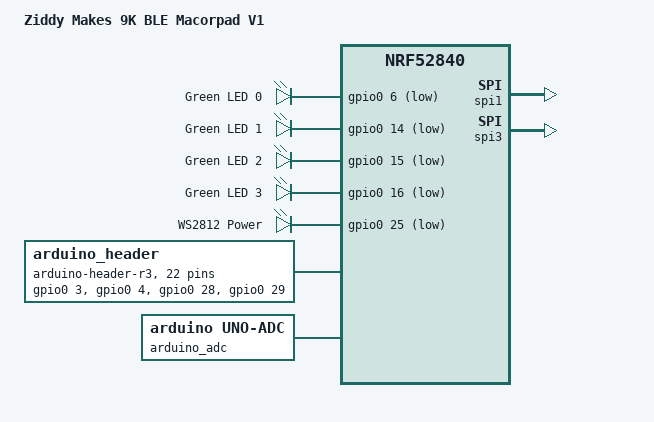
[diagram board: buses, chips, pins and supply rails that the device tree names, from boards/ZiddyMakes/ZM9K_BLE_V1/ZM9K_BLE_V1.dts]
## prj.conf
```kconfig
CONFIG_LOG=y
CONFIG_LED_STRIP=y
CONFIG_LED_STRIP_LOG_LEVEL_DBG=y
# CONFIG_BUILD_OUTPUT_UF2=y
```

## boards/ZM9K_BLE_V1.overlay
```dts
/*
 * Copyright (c) 2024, Ziddy Makes
 *
 * SPDX-License-Identifier: Apache-2.0
 */

#include <zephyr/dt-bindings/led/led.h>

#include "../nrf52-bindings.h"

&arduino_spi {
    compatible = "nordic,nrf-spim";
    led_strip: ws2812@0 {
        compatible = "worldsemi,ws2812-spi";

        /* SPI */
        reg = <0>; /* ignored, but necessary for SPI bindings */
        spi-max-frequency = <SPI_FREQ>;

        /* WS2812 */
        chain-length = <9>; /* arbitrary; change at will */
        color-mapping = <LED_COLOR_ID_GREEN
        LED_COLOR_ID_RED
        LED_COLOR_ID_BLUE>;
        spi-one-frame = <ONE_FRAME>;
        spi-zero-frame = <ZERO_FRAME>;
    };
};

/ {
    aliases {
        led-strip = &led_strip;
    };
}; 
```

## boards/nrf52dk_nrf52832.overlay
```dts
/*
 * Copyright (c) 2019, Nordic Semiconductor ASA
 *
 * SPDX-License-Identifier: Apache-2.0
 */

#include <zephyr/dt-bindings/led/led.h>

#include "../nrf52-bindings.h"

&arduino_spi {/* MOSI on D11 / P0.23 */
	compatible = "nordic,nrf-spim";
	led_strip: ws2812@0 {
		compatible = "worldsemi,ws2812-spi";

		/* SPI */
		reg = <0>; /* ignored, but necessary for SPI bindings */
		spi-max-frequency = <SPI_FREQ>;

		/* WS2812 */
		chain-length = <16>; /* arbitrary; change at will */
		color-mapping = <LED_COLOR_ID_GREEN
		LED_COLOR_ID_RED
		LED_COLOR_ID_BLUE>;
		spi-one-frame = <ONE_FRAME>;
		spi-zero-frame = <ZERO_FRAME>;
	};
};

/ {
	aliases {
		led-strip = &led_strip;
	};
};

&arduino_adc {
	io-channel-map = <0 &adc 1>, <1 &adc 2>, <2 &adc 4>, <3 &adc 5>, <4 &adc 6>, <5 &adc 7>;
};
```

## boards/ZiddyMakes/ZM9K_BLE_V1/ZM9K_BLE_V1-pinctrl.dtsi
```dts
/*
 * Copyright (c) 2022 Nordic Semiconductor
 * SPDX-License-Identifier: Apache-2.0
 */

&pinctrl {
    uart0_default: uart0_default {
        group1 {
            psels = <NRF_PSEL(UART_TX, 0, 6)>,
                    <NRF_PSEL(UART_RTS, 0, 5)>;
        };
        group2 {
            psels = <NRF_PSEL(UART_RX, 0, 8)>,
                    <NRF_PSEL(UART_CTS, 0, 7)>;
            bias-pull-up;
        };
    };

    uart0_sleep: uart0_sleep {
        group1 {
            psels = <NRF_PSEL(UART_TX, 0, 6)>,
                    <NRF_PSEL(UART_RX, 0, 8)>,
                    <NRF_PSEL(UART_RTS, 0, 5)>,
                    <NRF_PSEL(UART_CTS, 0, 7)>;
            low-power-enable;
        };
    };

    uart1_default: uart1_default {
        group1 {
            psels = <NRF_PSEL(UART_RX, 1, 1)>;
            bias-pull-up;
        };
        group2 {
            psels = <NRF_PSEL(UART_TX, 1, 2)>;
        };
    };

    uart1_sleep: uart1_sleep {
        group1 {
            psels = <NRF_PSEL(UART_RX, 1, 1)>,
                    <NRF_PSEL(UART_TX, 1, 2)>;
            low-power-enable;
        };
    };

    i2c0_default: i2c0_default {
        group1 {
            psels = <NRF_PSEL(TWIM_SDA, 0, 26)>,
                    <NRF_PSEL(TWIM_SCL, 0, 27)>;
        };
    };

    i2c0_sleep: i2c0_sleep {
        group1 {
            psels = <NRF_PSEL(TWIM_SDA, 0, 26)>,
                    <NRF_PSEL(TWIM_SCL, 0, 27)>;
            low-power-enable;
        };
    };

    i2c1_default: i2c1_default {
        group1 {
            psels = <NRF_PSEL(TWIM_SDA, 0, 30)>,
                    <NRF_PSEL(TWIM_SCL, 0, 31)>;
        };
    };

    i2c1_sleep: i2c1_sleep {
        group1 {
            psels = <NRF_PSEL(TWIM_SDA, 0, 30)>,
                    <NRF_PSEL(TWIM_SCL, 0, 31)>;
            low-power-enable;
        };
    };

    pwm0_default: pwm0_default {
        group1 {
            psels = <NRF_PSEL(PWM_OUT0, 0, 13)>;
            nordic,invert;
        };
    };

    pwm0_sleep: pwm0_sleep {
        group1 {
            psels = <NRF_PSEL(PWM_OUT0, 0, 13)>;
            low-power-enable;
        };
    };

    spi0_default: spi0_default {
        group1 {
            psels = <NRF_PSEL(SPIM_SCK, 0, 27)>,
                    <NRF_PSEL(SPIM_MOSI, 0, 26)>,
                    <NRF_PSEL(SPIM_MISO, 0, 29)>;
        };
    };

    spi0_sleep: spi0_sleep {
        group1 {
            psels = <NRF_PSEL(SPIM_SCK, 0, 27)>,
                    <NRF_PSEL(SPIM_MOSI, 0, 26)>,
                    <NRF_PSEL(SPIM_MISO, 0, 29)>;
            low-power-enable;
        };
    };

    spi1_default: spi1_default {
        group1 {
            psels = <NRF_PSEL(SPIM_SCK, 0, 31)>,
                    <NRF_PSEL(SPIM_MOSI, 0, 30)>,
                    <NRF_PSEL(SPIM_MISO, 1, 8)>;
        };
    };

    spi1_sleep: spi1_sleep {
        group1 {
            psels = <NRF_PSEL(SPIM_SCK, 0, 31)>,
                    <NRF_PSEL(SPIM_MOSI, 0, 30)>,
                    <NRF_PSEL(SPIM_MISO, 1, 8)>;
            low-power-enable;
        };
    };

    spi2_default: spi2_default {
        group1 {
            psels = <NRF_PSEL(SPIM_SCK, 0, 19)>,
                    <NRF_PSEL(SPIM_MOSI, 0, 20)>,
                    <NRF_PSEL(SPIM_MISO, 0, 21)>;
        };
    };

    spi2_sleep: spi2_sleep {
        group1 {
            psels = <NRF_PSEL(SPIM_SCK, 0, 19)>,
                    <NRF_PSEL(SPIM_MOSI, 0, 20)>,
                    <NRF_PSEL(SPIM_MISO, 0, 21)>;
            low-power-enable;
        };
    };

    qspi_default: qspi_default {
        group1 {
            psels = <NRF_PSEL(QSPI_SCK, 0, 19)>,
                    <NRF_PSEL(QSPI_IO0, 0, 20)>,
                    <NRF_PSEL(QSPI_IO1, 0, 21)>,
                    <NRF_PSEL(QSPI_IO2, 0, 22)>,
                    <NRF_PSEL(QSPI_IO3, 0, 23)>,
                    <NRF_PSEL(QSPI_CSN, 0, 17)>;
            nordic,drive-mode = <NRF_DRIVE_H0H1>;
        };
    };

    qspi_sleep: qspi_sleep {
        group1 {
            psels = <NRF_PSEL(QSPI_SCK, 0, 19)>,
                    <NRF_PSEL(QSPI_IO0, 0, 20)>,
                    <NRF_PSEL(QSPI_IO1, 0, 21)>,
                    <NRF_PSEL(QSPI_IO2, 0, 22)>,
                    <NRF_PSEL(QSPI_IO3, 0, 23)>;
            low-power-enable;
        };
        group2 {
            psels = <NRF_PSEL(QSPI_CSN, 0, 17)>;
            low-power-enable;
            bias-pull-up;
        };
    };

    spi3_default: spi3_default {
        group1 {
            psels = <NRF_PSEL(SPIM_SCK, 1, 15)>,
                    <NRF_PSEL(SPIM_MISO, 1, 14)>,
                    <NRF_PSEL(SPIM_MOSI, 1, 13)>;
        };
    };

    spi3_sleep: spi3_sleep {
        group1 {
            psels = <NRF_PSEL(SPIM_SCK, 1, 15)>,
                    <NRF_PSEL(SPIM_MISO, 1, 14)>,
                    <NRF_PSEL(SPIM_MOSI, 1, 13)>;
            low-power-enable;
        };
    };

};
```

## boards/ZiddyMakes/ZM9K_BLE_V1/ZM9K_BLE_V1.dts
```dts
/dts-v1/;
#include <nordic/nrf52840_qiaa.dtsi>
#include "ZM9K_BLE_V1-pinctrl.dtsi"

/ {
	model = "Ziddy Makes 9K BLE Macorpad V1";
	compatible = "ZiddyMakes,ZM9K-BLE-V1";

	chosen {
		zephyr,sram = &sram0;
		zephyr,flash = &flash0;
		zephyr,code-partition = &slot0_partition;
	};

	leds {
		compatible = "gpio-leds";
		led0: led_0 {
			gpios = <&gpio0 6 GPIO_ACTIVE_LOW>;
			label = "Green LED 0";
		};
		led1: led_1 {
			gpios = <&gpio0 14 GPIO_ACTIVE_LOW>;
			label = "Green LED 1";
		};
		led2: led_2 {
			gpios = <&gpio0 15 GPIO_ACTIVE_LOW>;
			label = "Green LED 2";
		};
		led3: led_3 {
			gpios = <&gpio0 16 GPIO_ACTIVE_LOW>;
			label = "Green LED 3";
		};
	};

	ws2812_power {
		compatible = "gpio-leds";
		ws2812_power0: ws2812_power_0 {
			gpios = <&gpio0 25 GPIO_ACTIVE_LOW>;
			label = "WS2812 Power";
		};
	};

	arduino_header: connector {
		compatible = "arduino-header-r3";
		#gpio-cells = <2>;
		gpio-map-mask = <0xffffffff 0xffffffc0>;
		gpio-map-pass-thru = <0 0x3f>;
		gpio-map = <0 0 &gpio0 3 0>, /* A0 */
		           <1 0 &gpio0 4 0>, /* A1 */
		           <2 0 &gpio0 28 0>, /* A2 */
		           <3 0 &gpio0 29 0>, /* A3 */
		           <4 0 &gpio0 30 0>, /* A4 */
		           <5 0 &gpio0 31 0>, /* A5 */
		           <6 0 &gpio1 1 0>, /* D0 */
		           <7 0 &gpio1 2 0>, /* D1 */
		           <8 0 &gpio1 3 0>, /* D2 */
		           <9 0 &gpio1 4 0>, /* D3 */
		           <10 0 &gpio1 5 0>, /* D4 */
		           <11 0 &gpio1 6 0>, /* D5 */
		           <12 0 &gpio1 7 0>, /* D6 */
		           <13 0 &gpio1 8 0>, /* D7 */
		           <14 0 &gpio1 10 0>, /* D8 */
		           <15 0 &gpio1 11 0>, /* D9 */
		           <16 0 &gpio1 12 0>, /* D10 */
		           <17 0 &gpio1 13 0>, /* D11 */
		           <18 0 &gpio1 14 0>, /* D12 */
		           <19 0 &gpio1 15 0>, /* D13 */
		           <20 0 &gpio0 26 0>, /* D14 */
		           <21 0 &gpio0 27 0>;    /* D15 */
	};

	arduino_adc: analog-connector {
		compatible = "arduino,uno-adc";
		#io-channel-cells = <1>;
		io-channel-map = <0 &adc 1>, /* A0 = P0.3 = AIN1 */
		                 <1 &adc 2>, /* A1 = P0.4 = AIN2 */
		                 <2 &adc 4>, /* A2 = P0.28 = AIN4 */
		                 <3 &adc 5>, /* A3 = P0.29 = AIN5 */
		                 <4 &adc 6>, /* A4 = P0.30 = AIN6 */
		                 <5 &adc 7>;    /* A5 = P0.31 = AIN7 */
	};
};

&gpiote {
	status = "okay";
};

&gpio0 {
	status = "okay";
	gpio-reserved-ranges = <0 2>, <6 1>, <8 3>, <17 7>;
	gpio-line-names = "XL1",
	                  "XL2",
	                  "AREF",
	                  "A0",
	                  "A1",
	                  "RTS",
	                  "TXD",
	                  "CTS",
	                  "RXD",
	                  "NFC1",
	                  "NFC2",
	                  "BUTTON1",
	                  "BUTTON2",
	                  "LED1",
	                  "LED2",
	                  "LED3",
	                  "LED4",
	                  "QSPI CS",
	                  "RESET",
	                  "QSPI CLK",
	                  "QSPI DIO0",
	                  "QSPI DIO1",
	                  "QSPI DIO2",
	                  "QSPI DIO3",
	                  "BUTTON3",
	                  "BUTTON4",
	                  "SDA",
	                  "SCL",
	                  "A2",
	                  "A3",
	                  "A4",
	                  "A5";
};

&gpio1 {
	status = "okay";
	gpio-line-names = "",
	                  "D0",
	                  "D1",
	                  "D2",
	                  "D3",
	                  "D4",
	                  "D5",
	                  "D6",
	                  "D7",
	                  "",
	                  "D8",
	                  "D9",
	                  "D10",
	                  "D11",
	                  "D12",
	                  "D13";
};

&spi0 {
	compatible = "nordic,nrf-spi";
	/* Cannot be used together with i2c0. */
	/* status = "okay"; */
	pinctrl-0 = <&spi0_default>;
	pinctrl-1 = <&spi0_sleep>;
	pinctrl-names = "default", "sleep";
};

&spi1 {
	compatible = "nordic,nrf-spi";
	status = "okay";
	pinctrl-0 = <&spi1_default>;
	pinctrl-1 = <&spi1_sleep>;
	pinctrl-names = "default", "sleep";
};

arduino_spi: &spi3 {
	status = "okay";
	cs-gpios = <&gpio0 26 GPIO_ACTIVE_LOW>; /* D10 */
	pinctrl-0 = <&spi3_default>;
	pinctrl-1 = <&spi3_sleep>;
	pinctrl-names = "default", "sleep";
};

&flash0 {
	partitions {
		compatible = "fixed-partitions";
		#address-cells = <1>;
		#size-cells = <1>;

		boot_partition: partition@0 {
			label = "mcuboot";
			reg = <0x00000000 DT_SIZE_K(48)>;
		};

		slot0_partition: partition@c000 {
			label = "image-0";
			reg = <0x0000c000 DT_SIZE_K(472)>;
		};

		slot1_partition: partition@82000 {
			label = "image-1";
			reg = <0x00082000 DT_SIZE_K(472)>;
		};

		storage_partition: partition@f8000 {
			label = "storage";
			reg = <0x000f8000 DT_SIZE_K(32)>;
		};
	};
};
```

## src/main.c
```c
/*
 * Copyright (c) 2017 Linaro Limited
 * Copyright (c) 2018 Intel Corporation
 * Copyright (c) 2024 TOKITA Hiroshi
 *
 * SPDX-License-Identifier: Apache-2.0
 */

#include <errno.h>
#include <string.h>

#define LOG_LEVEL 4
#include <zephyr/logging/log.h>
LOG_MODULE_REGISTER(main);

#include <zephyr/kernel.h>
#include <zephyr/drivers/led_strip.h>
#include <zephyr/device.h>
#include <zephyr/drivers/spi.h>
#include <zephyr/sys/util.h>
#include <zephyr/drivers/gpio.h>

#define STRIP_NODE DT_ALIAS(led_strip)

#if DT_NODE_HAS_PROP(DT_ALIAS(led_strip), chain_length)
#define STRIP_NUM_PIXELS DT_PROP(DT_ALIAS(led_strip), chain_length)
#else
#error Unable to determine length of LED strip
#endif

#define LED0 DT_NODELABEL(led0)
#define POWER_WS2812_NODE DT_NODELABEL(ws2812_power0)

#define DELAY_TIME K_MSEC(CONFIG_SAMPLE_LED_UPDATE_DELAY)

#define RGB(_r, _g, _b) {.r = (_r), .g = (_g), .b = (_b)}

static const struct led_rgb colors[] = {
	RGB(CONFIG_SAMPLE_LED_BRIGHTNESS, 0x00, 0x00), /* red */
	RGB(0x00, CONFIG_SAMPLE_LED_BRIGHTNESS, 0x00), /* green */
	RGB(0x00, 0x00, CONFIG_SAMPLE_LED_BRIGHTNESS), /* blue */
};

static struct gpio_dt_spec led0 = GPIO_DT_SPEC_GET(LED0, gpios);
// static struct gpio_dt_spec power_ws2812 = GPIO_DT_SPEC_GET(POWER_WS2812_NODE, gpios);

static struct led_rgb pixels[STRIP_NUM_PIXELS];

static const struct device *const strip = DEVICE_DT_GET(STRIP_NODE);

int main(void)
{
	size_t color = 0;
	int rc;

	// if (!gpio_is_ready_dt(&power_ws2812))
	// {
	// 	LOG_ERR("Power WS2812 device %s is not ready", power_ws2812.port->name);
	// 	return 0;
	// }

	if (!gpio_is_ready_dt(&led0))
	{
		LOG_ERR("LED0 device %s is not ready", led0.port->name);
		return 0;
	}

	rc = gpio_pin_configure_dt(&led0, GPIO_OUTPUT_ACTIVE);
	if (rc < 0)
	{
		LOG_ERR("Failed to configure LED0 device %s", led0.port->name);
		return 0;
	}

	gpio_pin_toggle_dt(&led0);
	k_msleep(6000);
	gpio_pin_toggle_dt(&led0);

	// rc = gpio_pin_configure_dt(&power_ws2812, GPIO_OUTPUT_ACTIVE);
	// if (rc < 0)
	// {
	// 	LOG_ERR("Failed to configure power WS2812 device %s", power_ws2812.port->name);
	// 	return 0;
	// }

	if (device_is_ready(strip))
	{
		LOG_INF("Found LED strip device %s", strip->name);
	}
	else
	{
		LOG_ERR("LED strip device %s is not ready", strip->name);
		return 0;
	}

	LOG_INF("Displaying pattern on strip");
	while (1)
	{
		for (size_t cursor = 0; cursor < ARRAY_SIZE(pixels); cursor++)
		{
			memset(&pixels, 0x00, sizeof(pixels));
			memcpy(&pixels[cursor], &colors[color], sizeof(struct led_rgb));

			rc = led_strip_update_rgb(strip, pixels, STRIP_NUM_PIXELS);
			if (rc)
			{
				LOG_ERR("couldn't update strip: %d", rc);
			}

			k_sleep(DELAY_TIME);
		}

		color = (color + 1) % ARRAY_SIZE(colors);
	}

	return 0;
}
```
